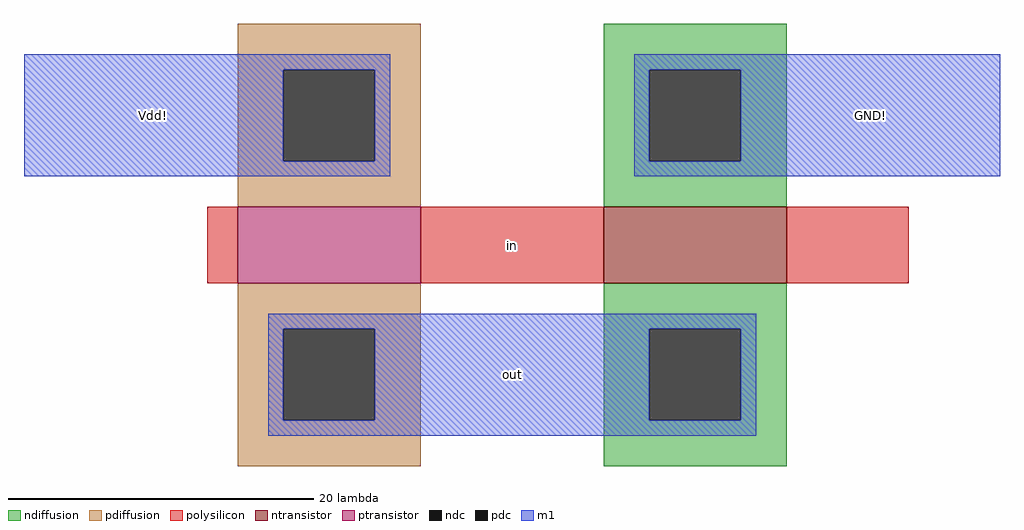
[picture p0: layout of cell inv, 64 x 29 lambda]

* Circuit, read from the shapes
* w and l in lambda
.subckt inv GND! Vdd! in out
M1 GND! in out VSUBS nfet w=12 l=5
M2 Vdd! in out NWELL pfet w=12 l=5
.ends

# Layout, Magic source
magic
tech sky130l
<< ndiffusion >>
rect 66 77 78 80
rect 66 71 69 77
rect 75 71 78 77
rect 66 68 78 71
rect 66 60 78 63
rect 66 54 69 60
rect 75 54 78 60
rect 66 51 78 54
<< ndc >>
rect 69 71 75 77
rect 69 54 75 60
<< ntransistor >>
rect 66 63 78 68
<< pdiffusion >>
rect 42 77 54 80
rect 42 71 45 77
rect 51 71 54 77
rect 42 68 54 71
rect 42 60 54 63
rect 42 54 45 60
rect 51 54 54 60
rect 42 51 54 54
<< pdc >>
rect 45 71 51 77
rect 45 54 51 60
<< ptransistor >>
rect 42 63 54 68
<< polysilicon >>
rect 40 63 42 68
rect 54 63 66 68
rect 78 63 86 68
<< m1 >>
rect 28 77 52 78
rect 28 71 45 77
rect 51 71 52 77
rect 28 70 52 71
rect 68 77 92 78
rect 68 71 69 77
rect 75 71 92 77
rect 68 70 92 71
rect 44 60 76 61
rect 44 54 45 60
rect 51 54 69 60
rect 75 54 76 60
rect 44 53 76 54
<< labels >>
rlabel m1 51 53 69 61 0 out
rlabel m1 28 70 45 78 1 Vdd!
rlabel m1 75 70 92 78 1 GND!
rlabel polysilicon 54 63 66 68 1 in
<< end >>
